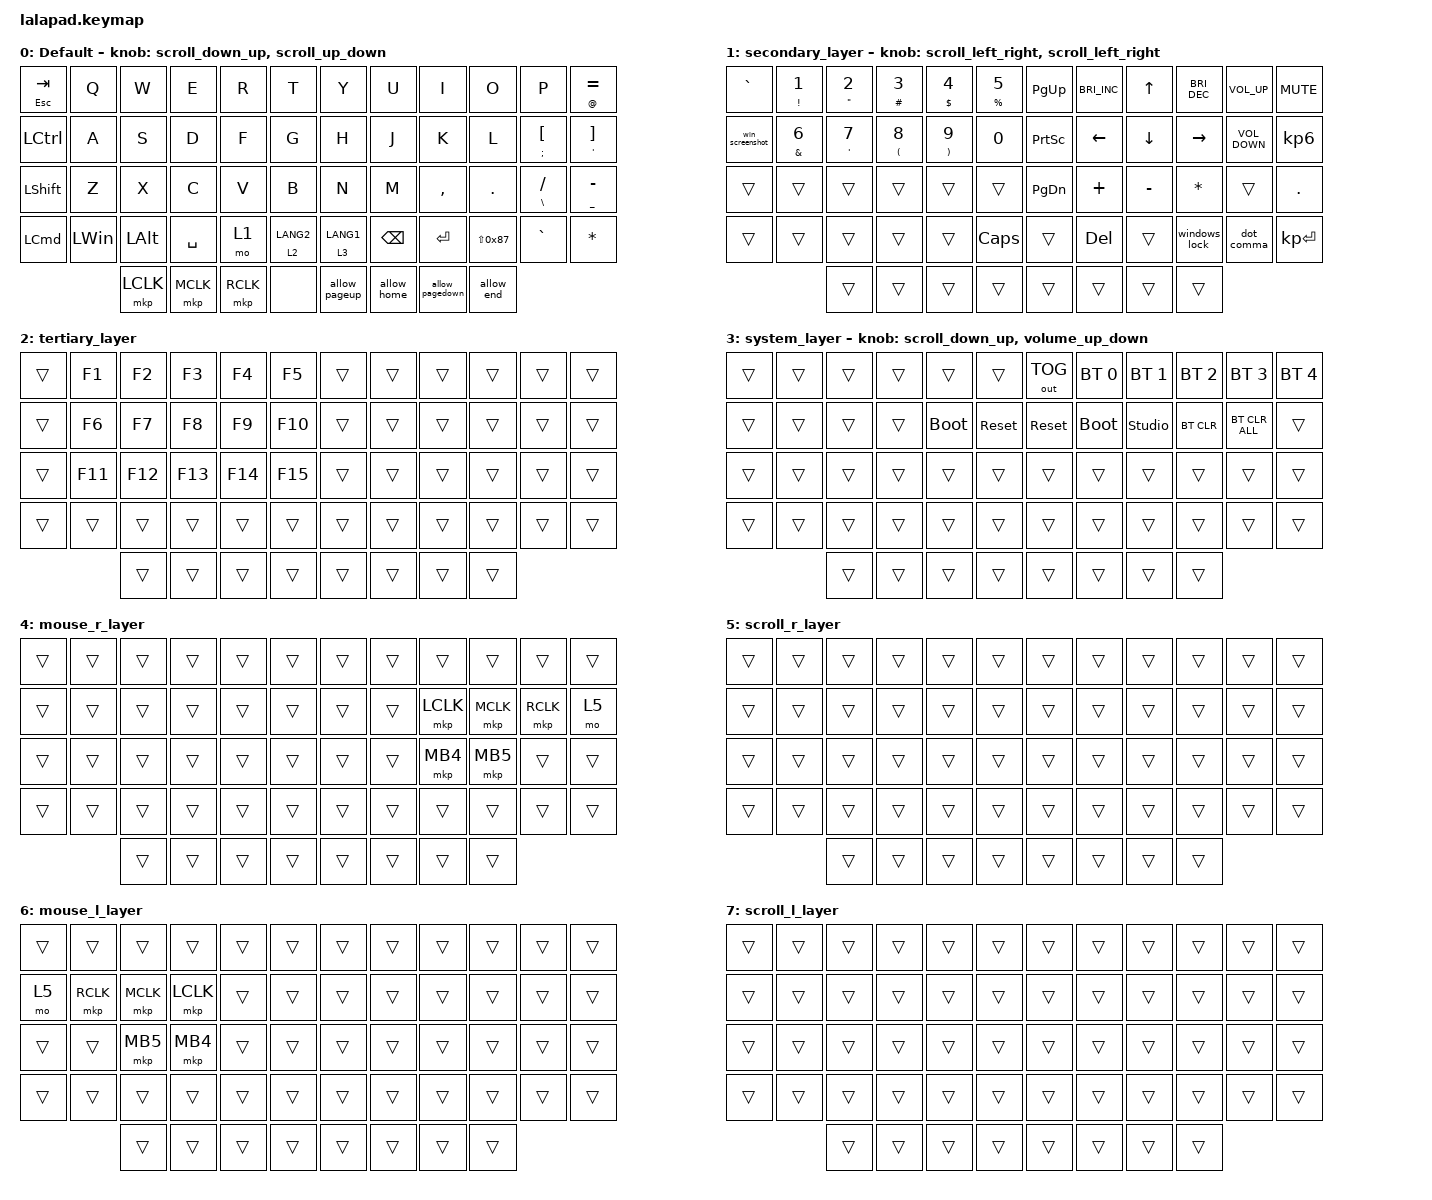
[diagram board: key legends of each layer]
#include <input/processors.dtsi>
#include <behaviors.dtsi>
#include <dt-bindings/zmk/bt.h>
#include <dt-bindings/zmk/keys.h>
#include <dt-bindings/zmk/outputs.h>
#include <dt-bindings/zmk/pointing.h>

#define DEFAULT_LAYER   0
#define SECONDARY_LAYER 1
#define TERTIARY_LAYER  2
#define SYSTEM_LAYER    3
#define MOUSE_R_LAYER   4
#define SCROLL_R_LAYER  5
#define MOUSE_L_LAYER   6
#define SCROLL_L_LAYER  7
#define CURSOR_LAYER    8

// OS設定を日本語キーボードのまま使用するための変換定義

#define JP_DQUOTE       AT                // "
#define JP_AMPERSAND    CARET             // &
#define JP_QUOTE        AMPERSAND         // '
#define JP_EQUAL        UNDER             // =
#define JP_CARET        EQUAL             // ^
#define JP_YEN          0x89              // ¥
#define JP_PLUS         COLON             // +
#define JP_TILDE        PLUS              // ~
#define JP_PIPE         LS(0x89)          // |
#define JP_AT           LEFT_BRACKET      // @
#define JP_COLON        SINGLE_QUOTE      // :
#define JP_ASTERISK     DOUBLE_QUOTES     // *
#define JP_BACKQUOTE    LEFT_BRACE        // `
#define JP_UNDERSCORE   LS(0x87)          // _
#define JP_LBRACKET     RIGHT_BRACKET     // [
#define JP_RBRACKET     BACKSLASH         // ]
#define JP_LPAREN       ASTERISK          // (
#define JP_RPAREN       LEFT_PARENTHESIS  // )
#define JP_LBRACE       RIGHT_BRACE       // {
#define JP_RBRACE       PIPE              // }
#define JP_KANA         LANGUAGE_1        // かな
#define JP_EISU         LANGUAGE_2        // 英数
#define JP_HANZEN       GRAVE             // 半角/全角

// Mouse Scroll Value

#define ZMK_POINTING_DEFAULT_SCRL_VAL 100

// cirque trackpad input&layer control

&glidepoint_listener_R {
    input-processors =
        <&zip_xy_transform (INPUT_TRANSFORM_XY_SWAP | INPUT_TRANSFORM_X_INVERT | INPUT_TRANSFORM_Y_INVERT)>,
        <&zip_xy_scaler 3 2>,
        <&zip_temp_layer MOUSE_R_LAYER 500>;

    lowspeedmode {
        layers = <SECONDARY_LAYER>;
        input-processors =
            <&zip_xy_transform (INPUT_TRANSFORM_XY_SWAP | INPUT_TRANSFORM_X_INVERT | INPUT_TRANSFORM_Y_INVERT)>,
            <&zip_xy_scaler 3 5>,
            <&zip_temp_layer MOUSE_R_LAYER 500>;
    };

    scroller {
        layers = <SCROLL_R_LAYER>;
        input-processors =
            <&zip_xy_to_scroll_mapper>,
            <&zip_scroll_transform (INPUT_TRANSFORM_XY_SWAP | INPUT_TRANSFORM_Y_INVERT)>,
            <&zip_scroll_scaler 1 8>;
    };
};

&glidepoint_listener_L {
    input-processors =
        <&zip_xy_transform (INPUT_TRANSFORM_XY_SWAP | INPUT_TRANSFORM_X_INVERT | INPUT_TRANSFORM_Y_INVERT)>,
        <&zip_xy_scaler 3 2>,
        <&zip_temp_layer MOUSE_L_LAYER 500>;

    lowspeedmode {
        layers = <SECONDARY_LAYER>;
        input-processors =
            <&zip_xy_transform (INPUT_TRANSFORM_XY_SWAP | INPUT_TRANSFORM_X_INVERT | INPUT_TRANSFORM_Y_INVERT)>,
            <&zip_xy_scaler 3 4>,
            <&zip_temp_layer MOUSE_L_LAYER 500>;
    };

    scroller {
        layers = <SCROLL_L_LAYER>;
        input-processors =
            <&zip_xy_to_scroll_mapper>,
            <&zip_scroll_transform (INPUT_TRANSFORM_XY_SWAP | INPUT_TRANSFORM_Y_INVERT)>,
            <&zip_scroll_scaler 1 6>;
    };
};

/ {
    behaviors {
        // Encoder to Mouse Scroll

        scroll_up_down: sensor_scroll_up_down {
            compatible = "zmk,behavior-sensor-rotate";
            #sensor-binding-cells = <0>;
            bindings = <&msc SCRL_UP>, <&msc SCRL_DOWN>;

            tap-ms = <20>;
            label = "SCROLL_UP_DOWN";
        };

        scroll_down_up: sensor_scroll_down_up {
            compatible = "zmk,behavior-sensor-rotate";
            #sensor-binding-cells = <0>;
            bindings = <&msc SCRL_DOWN>, <&msc SCRL_UP>;

            tap-ms = <20>;
            label = "SCROLL_DOWN_UP";
        };

        scroll_left_right: sensor_scroll_left_right {
            compatible = "zmk,behavior-sensor-rotate";
            #sensor-binding-cells = <0>;
            bindings = <&msc SCRL_LEFT>, <&msc SCRL_RIGHT>;

            tap-ms = <20>;
            label = "SCROLL_LEFT_RIGHT";
        };

        scroll_right_left: sensor_scroll_right_left {
            compatible = "zmk,behavior-sensor-rotate";
            #sensor-binding-cells = <0>;
            bindings = <&msc SCRL_RIGHT>, <&msc SCRL_LEFT>;

            tap-ms = <20>;
            label = "SCROLL_RIGHT_LEFT";
        };

        volume_up_down: sensor_volume_up_down {
            compatible = "zmk,behavior-sensor-rotate";
            #sensor-binding-cells = <0>;
            bindings = <&kp C_VOLUME_UP>, <&kp C_VOLUME_DOWN>;

            tap-ms = <20>;
            label = "VOLUME_UP_DOWN";
        };

        dot_comma: dot_comma {
            compatible = "zmk,behavior-mod-morph";
            #binding-cells = <0>;
            bindings = <&kp KP_DOT>, <&kp COMMA>;

            mods = <(MOD_LSFT|MOD_RSFT)>;
            label = "DOT_COMMA";
        };

        pls_minus: pls_minus {
            compatible = "zmk,behavior-mod-morph";
            #binding-cells = <0>;
            bindings = <&kp PLUS>, <&kp MINUS>;

            mods = <(MOD_LSFT|MOD_RSFT)>;
            label = "PLS_MINUS";
        };

        allow_pageup: allow_pageup {
            compatible = "zmk,behavior-mod-morph";
            #binding-cells = <0>;
            bindings = <&kp UP>, <&kp PAGE_UP>;

            mods = <(MOD_LCTL|MOD_RCTL)>;
            label = "ALLOW_PAGEUP";
        };

        allow_pagedown: allow_pagedown {
            compatible = "zmk,behavior-mod-morph";
            #binding-cells = <0>;
            bindings = <&kp DOWN>, <&kp PAGE_DOWN>;

            mods = <(MOD_LCTL|MOD_RCTL)>;
            label = "ALLOW_PAGEDOWN";
        };

        allow_home: allow_home {
            compatible = "zmk,behavior-mod-morph";
            #binding-cells = <0>;
            bindings = <&kp LEFT>, <&kp HOME>;

            mods = <(MOD_LCTL|MOD_RCTL)>;
            label = "ALLOW_HOME";
        };

        allow_end: allow_end {
            compatible = "zmk,behavior-mod-morph";
            #binding-cells = <0>;
            bindings = <&kp RIGHT>, <&kp END>;

            mods = <(MOD_LCTL|MOD_RCTL)>;
            label = "ALLOW_END";
        };

        mt2: mod_tap2 {
            compatible = "zmk,behavior-hold-tap";
            #binding-cells = <2>;
            flavor = "tap-preferred";
            tapping-term-ms = <200>;
            quick-tap-ms = <200>;
            require-prior-idle-ms = <125>;
            bindings = <&kp>, <&kp>;
        };
    };

    combos {
        compatible = "zmk,combos";

        toENG {
            bindings = <&kp LANG2>;
            key-positions = <39 40>;
        };

        toJPN {
            bindings = <&kp LANG1>;
            key-positions = <43 44>;
        };
    };

    macros {
        windows_lock: windows_lock {
            compatible = "zmk,behavior-macro";
            #binding-cells = <0>;
            bindings = <&kp LWIN &kp L>;
            label = "WINDOWS_LOCK";
        };

        win_screenshot: win_screenshot {
            compatible = "zmk,behavior-macro";
            #binding-cells = <0>;
            bindings = <&kp LWIN &kp LEFT_SHIFT &kp S>;
            label = "WIN_SCREENSHOT";
        };
    };

    keymap {
        compatible = "zmk,keymap";

        DEFAULT_LAYER {
            display-name = "Default";
            sensor-bindings = <&scroll_down_up>, <&scroll_up_down>;

            bindings = <
&mt2 ESC TAB      &kp Q         &kp W         &kp E      &kp R      &kp T        &kp Y          &kp U          &kp I            &kp O              &kp P                 &mt AT_SIGN EQUAL
&kp LEFT_CONTROL  &kp A         &kp S         &kp D      &kp F      &kp G        &kp H          &kp J          &kp K            &kp L              &mt2 SEMI LBKT        &mt2 SQT RBKT
&kp LSHFT         &kp Z         &kp X         &kp C      &kp V      &kp B        &kp N          &kp M          &kp COMMA        &kp PERIOD         &mt2 BACKSLASH SLASH  &mt2 UNDERSCORE MINUS
&kp LEFT_COMMAND  &kp LEFT_WIN  &kp LEFT_ALT  &kp SPACE  &mo 1      &lt 2 LANG2  &lt 3 LANG1    &kp BACKSPACE  &kp RET          &kp JP_UNDERSCORE  &kp GRAVE             &kp ASTRK
                                &mkp LCLK     &mkp MCLK  &mkp RCLK  &none        &allow_pageup  &allow_home    &allow_pagedown  &allow_end
            >;
        };

        SECONDARY_LAYER {
            display-name = "secondary_layer";
            sensor-bindings = <&scroll_left_right>, <&scroll_left_right>;

            bindings = <
&kp GRAVE        &mt2 EXCLAMATION NUMBER_1  &mt2 DOUBLE_QUOTES NUMBER_2  &mt2 HASH NUMBER_3              &mt2 DOLLAR NUMBER_4             &mt2 PERCENT NUMBER_5  &kp PAGE_UP      &kp C_BRIGHTNESS_INC  &kp UP_ARROW    &kp C_BRIGHTNESS_DEC  &kp C_VOLUME_UP    &kp C_MUTE
&win_screenshot  &mt2 AMPERSAND NUMBER_6    &mt2 SINGLE_QUOTE NUMBER_7   &mt2 LEFT_PARENTHESIS NUMBER_8  &mt2 RIGHT_PARENTHESIS NUMBER_9  &kp NUMBER_0           &kp PRINTSCREEN  &kp LEFT_ARROW        &kp DOWN_ARROW  &kp RIGHT_ARROW       &kp C_VOLUME_DOWN  &kp KP_NUMBER_6
&trans           &trans                     &trans                       &trans                          &trans                           &trans                 &kp PAGE_DOWN    &kp PLUS              &kp MINUS       &kp ASTRK             &trans             &kp DOT
&trans           &trans                     &trans                       &trans                          &trans                           &kp CAPS               &trans           &kp DELETE            &trans          &windows_lock         &dot_comma         &kp KP_ENTER
                                            &trans                       &trans                          &trans                           &trans                 &trans           &trans                &trans          &trans
            >;
        };

        TERTIARY_LAYER {
            display-name = "tertiary_layer";
            bindings = <
&trans  &kp F1   &kp F2   &kp F3   &kp F4   &kp F5   &trans  &trans  &trans  &trans  &trans  &trans
&trans  &kp F6   &kp F7   &kp F8   &kp F9   &kp F10  &trans  &trans  &trans  &trans  &trans  &trans
&trans  &kp F11  &kp F12  &kp F13  &kp F14  &kp F15  &trans  &trans  &trans  &trans  &trans  &trans
&trans  &trans   &trans   &trans   &trans   &trans   &trans  &trans  &trans  &trans  &trans  &trans
                 &trans   &trans   &trans   &trans   &trans  &trans  &trans  &trans
            >;
        };

        SYSTEM_LAYER {
            display-name = "system_layer";
            sensor-bindings = <&scroll_down_up>, <&volume_up_down>;

            bindings = <
&trans  &trans  &trans  &trans  &trans       &trans      &out OUT_TOG  &bt BT_SEL 0  &bt BT_SEL 1    &bt BT_SEL 2  &bt BT_SEL 3    &bt BT_SEL 4
&trans  &trans  &trans  &trans  &bootloader  &sys_reset  &sys_reset    &bootloader   &studio_unlock  &bt BT_CLR    &bt BT_CLR_ALL  &trans
&trans  &trans  &trans  &trans  &trans       &trans      &trans        &trans        &trans          &trans        &trans          &trans
&trans  &trans  &trans  &trans  &trans       &trans      &trans        &trans        &trans          &trans        &trans          &trans
                &trans  &trans  &trans       &trans      &trans        &trans        &trans          &trans
            >;
        };

        MOUSE_R_LAYER {
            display-name = "mouse_r_layer";
            bindings = <
&trans  &trans  &trans  &trans  &trans  &trans  &trans  &trans  &trans     &trans     &trans     &trans
&trans  &trans  &trans  &trans  &trans  &trans  &trans  &trans  &mkp LCLK  &mkp MCLK  &mkp RCLK  &mo 5
&trans  &trans  &trans  &trans  &trans  &trans  &trans  &trans  &mkp MB4   &mkp MB5   &trans     &trans
&trans  &trans  &trans  &trans  &trans  &trans  &trans  &trans  &trans     &trans     &trans     &trans
                &trans  &trans  &trans  &trans  &trans  &trans  &trans     &trans
            >;
        };

        SCROLL_R_LAYER {
            display-name = "scroll_r_layer";
            bindings = <
&trans  &trans  &trans  &trans  &trans  &trans  &trans  &trans  &trans  &trans  &trans  &trans
&trans  &trans  &trans  &trans  &trans  &trans  &trans  &trans  &trans  &trans  &trans  &trans
&trans  &trans  &trans  &trans  &trans  &trans  &trans  &trans  &trans  &trans  &trans  &trans
&trans  &trans  &trans  &trans  &trans  &trans  &trans  &trans  &trans  &trans  &trans  &trans
                &trans  &trans  &trans  &trans  &trans  &trans  &trans  &trans
            >;
        };

        MOUSE_L_LAYER {
            display-name = "mouse_l_layer";
            bindings = <
&trans  &trans     &trans     &trans     &trans  &trans  &trans  &trans  &trans  &trans  &trans  &trans
&mo 5   &mkp RCLK  &mkp MCLK  &mkp LCLK  &trans  &trans  &trans  &trans  &trans  &trans  &trans  &trans
&trans  &trans     &mkp MB5   &mkp MB4   &trans  &trans  &trans  &trans  &trans  &trans  &trans  &trans
&trans  &trans     &trans     &trans     &trans  &trans  &trans  &trans  &trans  &trans  &trans  &trans
                   &trans     &trans     &trans  &trans  &trans  &trans  &trans  &trans
            >;
        };

        SCROLL_L_LAYER {
            display-name = "scroll_l_layer";
            bindings = <
&trans  &trans  &trans  &trans  &trans  &trans  &trans  &trans  &trans  &trans  &trans  &trans
&trans  &trans  &trans  &trans  &trans  &trans  &trans  &trans  &trans  &trans  &trans  &trans
&trans  &trans  &trans  &trans  &trans  &trans  &trans  &trans  &trans  &trans  &trans  &trans
&trans  &trans  &trans  &trans  &trans  &trans  &trans  &trans  &trans  &trans  &trans  &trans
                &trans  &trans  &trans  &trans  &trans  &trans  &trans  &trans
            >;
        };
    };
};
